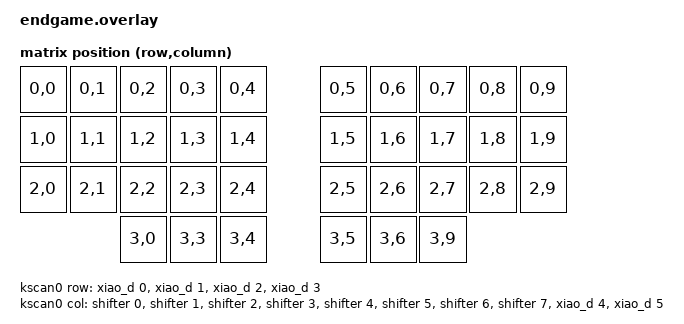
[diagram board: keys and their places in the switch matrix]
#include <dt-bindings/gpio/gpio.h>
#include <dt-bindings/zmk/matrix_transform.h>

&xiao_spi {
    status = "okay";
    cs-gpios = <&xiao_d 9 GPIO_ACTIVE_LOW>;

    shifter: 595@0 {
        compatible = "zmk,gpio-595";
        status = "okay";
        gpio-controller;
        #gpio-cells = <2>;
        reg = <0>;
        ngpios = <8>;
        spi-max-frequency = <1000000>;
    };
};

/* P0.13 left high impedance (no pull) selects the XIAO's ~50 mA charge mode. */
&gpio0 {
    charger_50ma: charger-50ma {
        gpio-hog;
        gpios = <13 0>;
        input;
        line-name = "xiao-battery-charge-current-50ma";
    };
};

/ {
    chosen {
        zmk,kscan = &kscan0;
        zmk,matrix_transform = &default_transform;
    };

    default_transform: keymap_transform_0 {
        compatible = "zmk,matrix-transform";
        columns = <10>;
        rows = <4>;
        map = <
            RC(0, 0) RC(0, 1) RC(0, 2) RC(0, 3) RC(0, 4) RC(0, 5) RC(0, 6) RC(0, 7) RC(0, 8) RC(0, 9)
            RC(1, 0) RC(1, 1) RC(1, 2) RC(1, 3) RC(1, 4) RC(1, 5) RC(1, 6) RC(1, 7) RC(1, 8) RC(1, 9)
            RC(2, 0) RC(2, 1) RC(2, 2) RC(2, 3) RC(2, 4) RC(2, 5) RC(2, 6) RC(2, 7) RC(2, 8) RC(2, 9)
            RC(3, 0) RC(3, 3) RC(3, 4) RC(3, 5) RC(3, 6) RC(3, 9)
        >;
    };

    kscan0: kscan {
        compatible = "zmk,kscan-gpio-matrix";
        diode-direction = "col2row";
        wakeup-source;

        row-gpios
            = <&xiao_d 0 (GPIO_ACTIVE_HIGH | GPIO_PULL_DOWN)>
            , <&xiao_d 1 (GPIO_ACTIVE_HIGH | GPIO_PULL_DOWN)>
            , <&xiao_d 2 (GPIO_ACTIVE_HIGH | GPIO_PULL_DOWN)>
            , <&xiao_d 3 (GPIO_ACTIVE_HIGH | GPIO_PULL_DOWN)>
            ;

        col-gpios
            = <&shifter 0 GPIO_ACTIVE_HIGH>
            , <&shifter 1 GPIO_ACTIVE_HIGH>
            , <&shifter 2 GPIO_ACTIVE_HIGH>
            , <&shifter 3 GPIO_ACTIVE_HIGH>
            , <&shifter 4 GPIO_ACTIVE_HIGH>
            , <&shifter 5 GPIO_ACTIVE_HIGH>
            , <&shifter 6 GPIO_ACTIVE_HIGH>
            , <&shifter 7 GPIO_ACTIVE_HIGH>
            , <&xiao_d 4 GPIO_ACTIVE_HIGH>
            , <&xiao_d 5 GPIO_ACTIVE_HIGH>
            ;
    };
};
